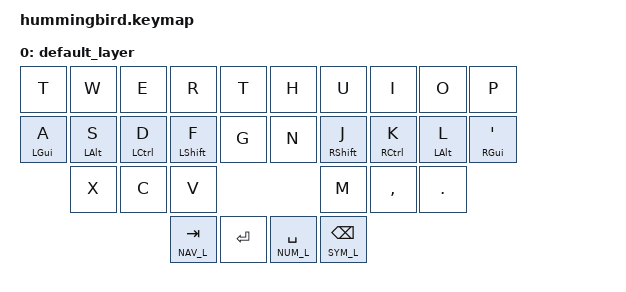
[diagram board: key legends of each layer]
/*
 * Copyright (c) 2022 The ZMK Contributors
 *
 * SPDX-License-Identifier: MIT
 */

#include <behaviors.dtsi>
#include <dt-bindings/zmk/keys.h>


/ {
    
    keymap {
        compatible = "zmk,keymap";

        default_layer {
            bindings = <
                &kp T      &kp W      &kp E       &kp R           &kp T        &kp H            &kp U          &kp I       &kp O      &kp P
                &hm LGUI A &hm LALT S &hm LCTRL D &hm LSHFT F     &kp G        &kp N            &hm RSHFT J    &hm RCTRL K &hm LALT L &hm RGUI QUOT
                           &kp X      &kp C       &kp V                                         &kp M          &kp COMMA  &kp DOT
                                                  &lt NAV_L TAB  &kp RET       &lt NUM_L SPACE  &lt SYM_L BKSP
            >;
        };

       
    }

